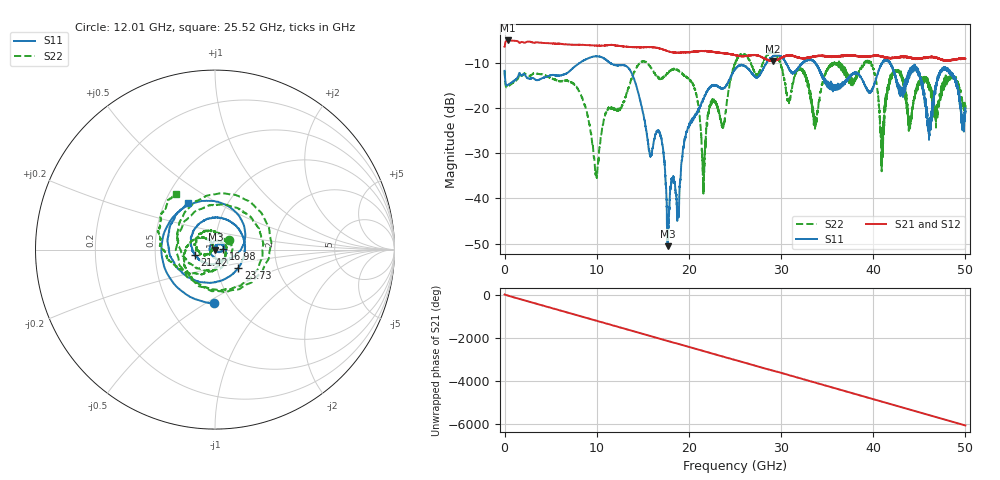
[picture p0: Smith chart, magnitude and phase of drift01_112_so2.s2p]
!Created with skrf (http://scikit-rf.org).
# Hz S RI R 50.0
!freq ReS11 ImS11 ReS21 ImS21 ReS12 ImS12 ReS22 ImS22
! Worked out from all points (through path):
!   10001 points, 300 kHz to 50 GHz, reference 50 ohm
!   highest |S21| = -5.05 dB at 325.3 MHz (marker M1); lowest = -9.6 dB at 29.08 GHz (marker M2)
!   group delay of S21, straight-line fit = 336 ps
!   lowest |S11| = -50.6 dB at 17.69 GHz (marker M3), VSWR 1.01, Z = 50.3 - j0.121 ohm
!   |S11| at or under -10 dB: start of sweep to 8.155 GHz; 11.43 GHz to 28.42 GHz (16.99 GHz wide, 85.3 % of centre); 41.81 GHz to end of sweep (the widest 3 of 9)
!   |S22| runs from -38.9 to -7.6 dB; largest |S21 - S12| = 0.015
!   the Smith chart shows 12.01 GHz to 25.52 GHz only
!   S11 on the Smith chart (normalised r, x): 12.01 GHz: 0.83, -0.54; 16.98 GHz: 1.10, +0.01; 21.42 GHz: 0.80, -0.05; 23.73 GHz: 1.27, -0.27; 25.52 GHz: 0.66, +0.37
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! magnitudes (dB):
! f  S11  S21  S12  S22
! 300 kHz  -11.8  -6.5  -6.5  -11.7
! 325.3 MHz  -14.9  -5.1  -5.1  -15.4
! 8.335 GHz  -9.8  -6.0  -6.0  -17.5
! 9.94 GHz  -8.5  -6.2  -6.2  -34.7
! 12.01 GHz  -10.5  -6.1  -6.2  -20.4
! 16.67 GHz  -25.0  -6.7  -6.7  -13.3
! 16.98 GHz  -26.6  -6.9  -6.9  -13.4
! 17.69 GHz  -50.6  -7.4  -7.4  -12.3
! 20.48 GHz  -22.5  -7.6  -7.6  -15.0
! 21.42 GHz  -18.7  -7.4  -7.4  -29.6
! 22.48 GHz  -15.0  -7.5  -7.6  -18.8
! 23.73 GHz  -15.6  -7.9  -7.9  -24.2
! 25 GHz  -11.4  -8.3  -8.3  -10.3
! 25.52 GHz  -10.5  -8.5  -8.5  -8.4
! 29.08 GHz  -8.6  -9.6  -9.6  -7.7
! 33.34 GHz  -9.4  -8.7  -8.7  -19.0
! 39.49 GHz  -16.4  -8.6  -8.6  -9.9
! 40.95 GHz  -10.1  -8.6  -8.6  -28.4
! 41.67 GHz  -9.6  -8.9  -9.0  -14.9
! 46.11 GHz  -23.3  -8.7  -8.8  -14.8
! 48.01 GHz  -11.4  -9.5  -9.5  -13.7
! 50 GHz  -21.1  -9.1  -9.1  -20.2
